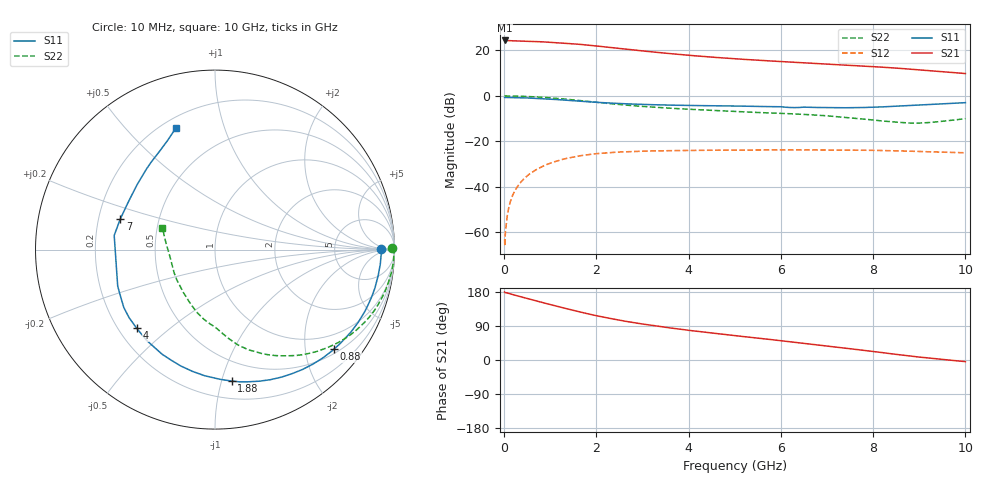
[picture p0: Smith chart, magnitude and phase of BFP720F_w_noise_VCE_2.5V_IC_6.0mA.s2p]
! Infineon Technologies  Discrete & RF Semiconductors
! BFP720F
! VCE =  2.5 V,  IC =  6.0 mA
! Common Emitter S-Parameters:  Jan 2016
# GHz  S  MA  R  50
!  f  S11  S21  S12  S22
! GHz  MAG  ANG  MAG  ANG  MAG  ANG  MAG  ANG
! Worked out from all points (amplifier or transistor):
!   233 points, 10 MHz to 10 GHz, reference 50 ohm
!   highest |S21| = 24.4 dB at 10 MHz (marker M1)
!   |S21| within 3 dB of that: start of sweep to 2.262 GHz
!   unconditionally stable (mu >= 1): start of sweep to 11.81 MHz; 7.522 GHz to end of sweep
!   at 200 MHz: K = 0.03, MSG = 33.6 dB, |S12| = -43.0 dB
!   at 1.74 GHz: K = 0.23, MSG = 24.2 dB, |S12| = -26.0 dB
!   at 10 GHz: K = 1.29, MAG = 14.2 dB, |S12| = -25.0 dB
!   lowest NFmin = 0.45 dB at 450 MHz
!   S11 on the Smith chart (normalised r, x): 10 MHz: 25, +1; 880 MHz: 0.60, -2.64; 1.88 GHz: 0.34, -1.08; 4 GHz: 0.27, -0.39; 7 GHz: 0.29, +0.14; 10 GHz: 0.25, +0.70
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0.01  0.9229 0.2  16.57 179.3  0.0007 -5.0  0.986 0.4
0.015  0.9249 -0.4  16.44 178.5  0.0005 46.3  0.9927 -0.4
0.02  0.927 -0.9  16.32 177.6  0.0008 89.4  0.9996 -1.2
0.05  0.9258 -2.3  16.47 177.6  0.0016 89.7  0.9967 -1.5
0.11  0.9245 -5.0  16.43 175.4  0.0039 85.7  0.9968 -3.2
0.22  0.9194 -9.9  16.25 171.5  0.0078 84.2  0.9924 -6.5
0.58  0.896 -26.1  15.75 159.8  0.0202 73.9  0.9637 -17.3
0.88  0.8646 -39.8  15.35 150.1  0.0298 65.6  0.927 -25.8
1.28  0.8156 -57.4  14.45 137.6  0.0407 54.9  0.8602 -37.0
1.68  0.7626 -74.8  13.49 125.7  0.049 45.3  0.7842 -47.3
1.88  0.7381 -82.7  12.88 120.2  0.0522 40.8  0.7475 -52.0
2.2  0.7069 -94.2  11.93 112.0  0.0562 34.5  0.6929 -58.7
2.6  0.6756 -106.5  10.77 102.8  0.0593 27.6  0.6347 -65.8
3  0.6533 -116.8  9.762 94.9  0.0613 22.4  0.5894 -71.5
3.4  0.6357 -124.8  8.894 87.9  0.0624 18.0  0.5537 -75.5
4  0.6184 -134.9  7.827 78.3  0.0635 12.5  0.5099 -80.3
5.1  0.5987 -148.6  6.466 63.0  0.0646 5.1  0.452 -87.0
6.8  0.5577 166.2  5.16 39.8  0.065 -4.4  0.3766 -102.7
7  0.5547 162.3  5.038 36.8  0.0649 -5.4  0.3661 -105.5
8.4  0.5884 130.7  4.16 16.3  0.0626 -12.6  0.2713 -141.8
9  0.6314 118.9  3.737 7.7  0.0601 -14.8  0.2537 -170.2
10  0.7121 107.9  3.108 -4.3  0.0564 -16.4  0.3177 157.2
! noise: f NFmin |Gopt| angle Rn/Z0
0.45  0.45  0.44  3  0.16
0.9  0.47  0.42  10  0.17
1.8  0.52  0.38  19  0.16
2.4  0.56  0.37  28  0.14
5.5  0.74  0.34  62  0.09
10  0.97  0.25  -105  0.15
